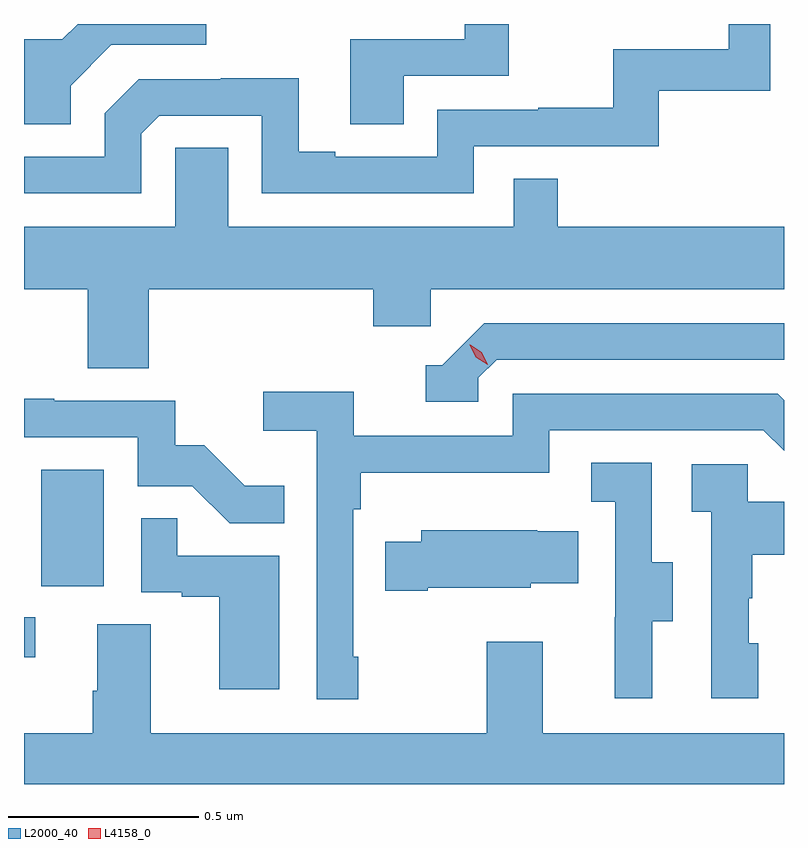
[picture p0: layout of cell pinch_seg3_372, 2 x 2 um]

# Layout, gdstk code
import gdstk
lib = gdstk.Library(unit=1e-6, precision=1e-09)
def R(c, l, rs):  # rectangles x0, y0, x1, y1
    for r in rs: c.add(gdstk.rectangle(r[:2], r[2:], *l))
def P(c, l, *ps):  # polygons
    for p in ps: c.add(gdstk.Polygon(p, *l))
L2000_40 = (2000, 40)
L4158_0 = (4158, 0)

pinch_seg3_372 = lib.new_cell('pinch_seg3_372')
R(pinch_seg3_372, L2000_40, [(1001.548,702.612,1001.578,702.717), (1001.594,702.798,1001.758,703.105)])
P(pinch_seg3_372, L2000_40, [(1001.671,704.116),(1001.778,704.223),(1002.028,704.223),(1002.028,704.278),(1001.689,704.278),(1001.649,704.238),(1001.548,704.238),(1001.548,704.014),(1001.671,704.014)],
  [(1001.856,703.989),(1001.904,704.037),(1002.174,704.037),(1002.174,703.833),(1002.732,703.833),(1002.732,703.956),(1003.219,703.956),(1003.219,704.103),(1003.512,704.103),(1003.512,704.278),(1003.403,704.278),(1003.403,704.212),(1003.098,704.212),(1003.098,704.057),(1002.901,704.057),(1002.901,704.052),(1002.636,704.052),(1002.636,703.929),(1002.367,703.929),(1002.367,703.942),(1002.271,703.942),(1002.271,704.135),(1002.066,704.135),(1002.066,704.133),(1001.85,704.133),(1001.76,704.043),(1001.76,703.929),(1001.548,703.929),(1001.548,703.833),(1001.856,703.833)],
  [(1002.547,704.142),(1002.824,704.142),(1002.824,704.278),(1002.708,704.278),(1002.708,704.238),(1002.407,704.238),(1002.407,704.014),(1002.547,704.014)],
  [(1001.548,703.58),(1001.716,703.58),(1001.716,703.372),(1001.876,703.372),(1001.876,703.58),(1002.467,703.58),(1002.467,703.482),(1002.618,703.482),(1002.618,703.58),(1003.548,703.58),(1003.548,703.744),(1002.953,703.744),(1002.953,703.871),(1002.837,703.871),(1002.837,703.744),(1002.085,703.744),(1002.085,703.952),(1001.946,703.952),(1001.946,703.744),(1001.548,703.744)],
  [(1002.744,703.347),(1002.792,703.395),(1003.548,703.395),(1003.548,703.491),(1002.759,703.491),(1002.648,703.38),(1002.605,703.38),(1002.605,703.284),(1002.744,703.284)],
  [(1002.427,702.613),(1002.414,702.613),(1002.414,703.001),(1002.434,703.001),(1002.434,703.097),(1002.93,703.097),(1002.93,703.209),(1003.494,703.209),(1003.548,703.155),(1003.548,703.288),(1003.531,703.305),(1002.834,703.305),(1002.834,703.194),(1002.416,703.194),(1002.416,703.31),(1002.177,703.31),(1002.177,703.208),(1002.318,703.208),(1002.318,702.501),(1002.427,702.501)],
  [(1002.233,703.063),(1002.129,703.063),(1002.022,703.17),(1001.946,703.17),(1001.946,703.287),(1001.627,703.287),(1001.627,703.292),(1001.548,703.292),(1001.548,703.191),(1001.847,703.191),(1001.847,703.062),(1001.991,703.062),(1002.089,702.964),(1002.233,702.964)],
  [(1003.201,702.706),(1003.255,702.706),(1003.255,702.861),(1003.2,702.861),(1003.2,703.124),(1003.041,703.124),(1003.041,703.021),(1003.104,703.021),(1003.104,702.717),(1003.103,702.717),(1003.103,702.504),(1003.201,702.504)],
  [(1003.48,702.648),(1003.455,702.648),(1003.455,702.767),(1003.465,702.767),(1003.465,702.881),(1003.548,702.881),(1003.548,703.021),(1003.452,703.021),(1003.452,703.119),(1003.305,703.119),(1003.305,702.995),(1003.356,702.995),(1003.356,702.504),(1003.48,702.504)],
  [(1002.22,702.879),(1001.951,702.879),(1001.951,702.977),(1001.856,702.977),(1001.856,702.783),(1001.963,702.783),(1001.963,702.771),(1002.062,702.771),(1002.062,702.528),(1002.22,702.528)],
  [(1002.61,702.794),(1002.882,702.794),(1002.882,702.806),(1003.007,702.806),(1003.007,702.943),(1002.899,702.943),(1002.899,702.946),(1002.593,702.946),(1002.593,702.916),(1002.499,702.916),(1002.499,702.787),(1002.61,702.787)],
  [(1003.548,702.412),(1002.913,702.412),(1002.913,702.652),(1002.766,702.652),(1002.766,702.412),(1001.881,702.412),(1001.881,702.698),(1001.741,702.698),(1001.741,702.524),(1001.729,702.524),(1001.729,702.412),(1001.548,702.412),(1001.548,702.278),(1003.548,702.278)])
P(pinch_seg3_372, L4158_0, [(1002.768,703.381),(1002.737,703.401),(1002.721,703.433),(1002.721,703.434),(1002.722,703.434),(1002.752,703.414),(1002.768,703.381),(1002.768,703.381)])

lib.write_gds('pinch_seg3_372.gds')
